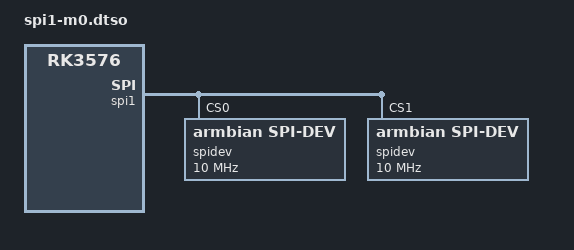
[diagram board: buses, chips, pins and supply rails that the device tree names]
// SPDX-License-Identifier: GPL-2.0-only
// SPI1 (M0) with spidev on CS0 and CS1. Written by tools/gen-interfaces.py.
/dts-v1/;
/plugin/;

/ {
	compatible = "radxa,rock-4d", "rockchip,rk3576";
};

&spi1 {
	pinctrl-names = "default";
	pinctrl-0 = <&spi1m0_csn0 &spi1m0_csn1 &spi1m0_pins>;
	status = "okay";

	spidev@0 {
		compatible = "armbian,spi-dev", "rockchip,spidev";
		reg = <0>;
		spi-max-frequency = <10000000>;
	};

	spidev@1 {
		compatible = "armbian,spi-dev", "rockchip,spidev";
		reg = <1>;
		spi-max-frequency = <10000000>;
	};
};
